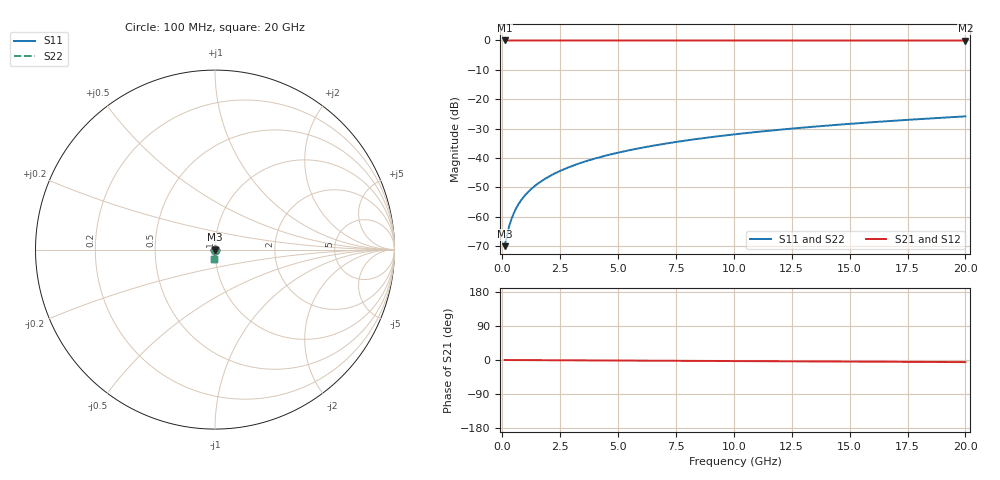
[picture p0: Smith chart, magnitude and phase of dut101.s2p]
! Touchstone file exported from HFSS 2026.1.0
!  File:  C:/ffzhzh/LocalFiles/Ansys_Project_Files/temp_train_TSV_101_1782989465_42984.aedt
!  Generated:  06:52:25 PM Jul  2, 2026
!  Design:  TSV
!  Project:  temp_train_TSV_101_1782989465_42984
! Variables:
!  h_bsmrdl = 2um
!  h_ox = 20um
!  h_rdl = 5um
!  h_sub = 50.51um
!  h_tmrdl = 5um
!  h_tsv = 50.51um
!  h_via = 3um
!  l_bsmrdl = 300um
!  l_sub = 410.68um
!  l_tmrdl = 200um
!  m_sub = 200um
!  pitch = 13.7um
!  r_tsv = 5.34um
!  s_tmrdl = 10um
!  w_bsmrdl = 18um
!  w_sub = 500um
!  w_tmrdl = 12um
!  x_tsv_center1 = 206um
!  x_tsv_center2 = 524um
!  x_tsv_center3 = 736um
!  x_tsv_center4 = 1054um
!  x_tsv_center5 = 1266um
!  x_tsv_center6 = 1584um
# GHz S MA R 50.000000
! Terminal data exported
! Port[1] = TSV1_1_T1
! Port[2] = TSV1_1_T2
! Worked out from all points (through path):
!   200 points, 100 MHz to 20 GHz, reference 50 ohm
!   highest |S21| = 0.00 dB at 100 MHz (marker M1); lowest = 0.0 dB at 20 GHz (marker M2)
!   lowest |S11| = -70.0 dB at 100 MHz (marker M3), VSWR 1.00, Z = 50 - j0.0194 ohm
!   |S11| at or under -10 dB: start of sweep to end of sweep
!   |S22| runs from -70.0 to -25.8 dB; largest |S21 - S12| = 3.2e-15
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0.1  0.0003168 -37.8  0.9997 -0.0  0.9997 -0.0  0.0003168 -37.8
! Gamma 0 0 0 0
! Port Impedance 50 0 50 0
0.2  0.0004882 -55.4  0.9997 -0.1  0.9997 -0.1  0.0004882 -55.4
0.3  0.0006972 -63.7  0.9997 -0.1  0.9997 -0.1  0.0006972 -63.7
0.4  0.0009238 -68.6  0.9997 -0.1  0.9997 -0.1  0.0009238 -68.6
0.5  0.001159 -71.9  0.9996 -0.1  0.9996 -0.1  0.001159 -71.9
0.6  0.001398 -74.3  0.9996 -0.2  0.9996 -0.2  0.001398 -74.3
0.8  0.001882 -77.6  0.9996 -0.2  0.9996 -0.2  0.001882 -77.6
1.1  0.002611 -80.5  0.9995 -0.3  0.9995 -0.3  0.002611 -80.5
1.3  0.003098 -81.7  0.9995 -0.4  0.9995 -0.4  0.003098 -81.7
1.5  0.003586 -82.6  0.9995 -0.4  0.9995 -0.4  0.003586 -82.6
1.8  0.00432 -83.6  0.9995 -0.5  0.9995 -0.5  0.00432 -83.6
2.1  0.005056 -84.4  0.9994 -0.6  0.9994 -0.6  0.005056 -84.4
2.7  0.006539 -85.4  0.9994 -0.8  0.9994 -0.8  0.006539 -85.4
3.5  0.008537 -86.2  0.9992 -1.0  0.9992 -1.0  0.008537 -86.2
4.2  0.0103 -86.8  0.9991 -1.2  0.9991 -1.2  0.0103 -86.8
5  0.01234 -87.3  0.999 -1.4  0.999 -1.4  0.01234 -87.3
6.8  0.01695 -88.3  0.9988 -1.9  0.9988 -1.9  0.01695 -88.3
8.3  0.02082 -89.1  0.9986 -2.3  0.9986 -2.3  0.02082 -89.1
10.1  0.02547 -89.9  0.9984 -2.8  0.9984 -2.8  0.02547 -89.9
13.4  0.03401 -91.2  0.9979 -3.7  0.9979 -3.7  0.03401 -91.2
16.7  0.04254 -92.4  0.9974 -4.7  0.9974 -4.7  0.04254 -92.4
20  0.05109 -93.5  0.9968 -5.6  0.9968 -5.6  0.05109 -93.5
